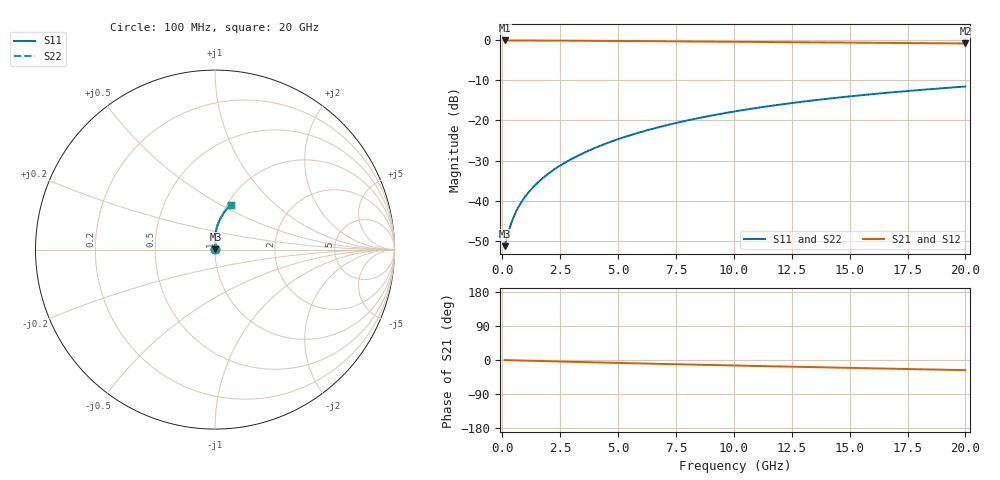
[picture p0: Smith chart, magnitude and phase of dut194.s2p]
! Touchstone file exported from HFSS 2024.1.0
!  File:  C:/UserFiles/LocalFiles/RDL_TSV_Batchsim/temp_RDL_top_194_1778686727.aedt
!  Generated:  11:41:11 PM May 13, 2026
!  Design:  RDL_top
!  Project:  temp_RDL_top_194_1778686727
!  Setup:  Setup1
!  Solution:  Sweep
! Variables:
!  dtsv = 10.80580581um
!  hbump = 3um
!  htsv = 56.49um
!  ldown = 100um
!  lrdl = 349.88um
!  p = 40
!  p1 = 54.47um
!  rhole = 1um
!  t = 450um
!  tdown = 3.915915916um
!  trdl = 2.25um
!  wdown = 15.38538539um
!  wrdl = 27.32um
# GHz S MA R 50.000000
! Terminal data exported
! Port[1] = Box2_T1
! Port[2] = Box2_T2
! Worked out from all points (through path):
!   200 points, 100 MHz to 20 GHz, reference 50 ohm
!   highest |S21| = -0.02 dB at 100 MHz (marker M1); lowest = -0.8 dB at 20 GHz (marker M2)
!   group delay of S21, straight-line fit = 3.67 ps
!   lowest |S11| = -51.4 dB at 100 MHz (marker M3), VSWR 1.01, Z = 50.2 + j0.121 ohm
!   |S11| at or under -10 dB: start of sweep to end of sweep
!   |S22| runs from -51.4 to -11.5 dB; largest |S21 - S12| = 2.6e-15
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0.1  0.002693 26.6  0.9976 -0.2  0.9976 -0.2  0.002693 26.6
! Gamma 0 0 0 0
! Port Impedance 50 0 50 0
0.3  0.004365 54.1  0.9974 -0.5  0.9974 -0.5  0.004365 54.1
0.4  0.005346 60.3  0.9972 -0.7  0.9972 -0.7  0.005346 60.3
0.5  0.006338 64.5  0.997 -0.8  0.997 -0.8  0.006338 64.5
0.6  0.007331 67.7  0.9969 -1.0  0.9969 -1.0  0.007331 67.7
0.8  0.009316 72.2  0.9966 -1.3  0.9966 -1.3  0.009316 72.2
1  0.01132 75.4  0.9962 -1.6  0.9962 -1.6  0.01132 75.4
1.2  0.01334 77.9  0.9959 -1.9  0.9959 -1.9  0.01334 77.9
1.7  0.01856 82.1  0.9949 -2.7  0.9949 -2.7  0.01856 82.1
2.2  0.02399 84.8  0.9937 -3.5  0.9937 -3.5  0.02399 84.8
2.8  0.03081 86.9  0.9919 -4.5  0.9919 -4.5  0.0308 86.9
3.5  0.03915 88.4  0.9895 -5.5  0.9895 -5.5  0.03915 88.4
4.2  0.04789 89.2  0.9868 -6.6  0.9868 -6.6  0.04789 89.2
5  0.05833 89.5  0.9834 -7.7  0.9834 -7.7  0.05833 89.5
5.9  0.07053 89.3  0.9794 -9.0  0.9794 -9.0  0.07053 89.3
6.8  0.0831 88.7  0.9753 -10.3  0.9753 -10.3  0.0831 88.7
8.4  0.106 87.1  0.968 -12.4  0.968 -12.4  0.106 87.1
10.1  0.1306 84.8  0.9602 -14.6  0.9602 -14.6  0.1306 84.8
11.7  0.1536 82.5  0.9529 -16.7  0.9529 -16.7  0.1536 82.5
13.4  0.1777 80.0  0.9452 -18.8  0.9452 -18.8  0.1777 80.0
16.7  0.2228 75.1  0.9301 -22.9  0.9301 -22.9  0.2228 75.1
20  0.2652 70.5  0.9147 -26.8  0.9147 -26.8  0.2652 70.5
